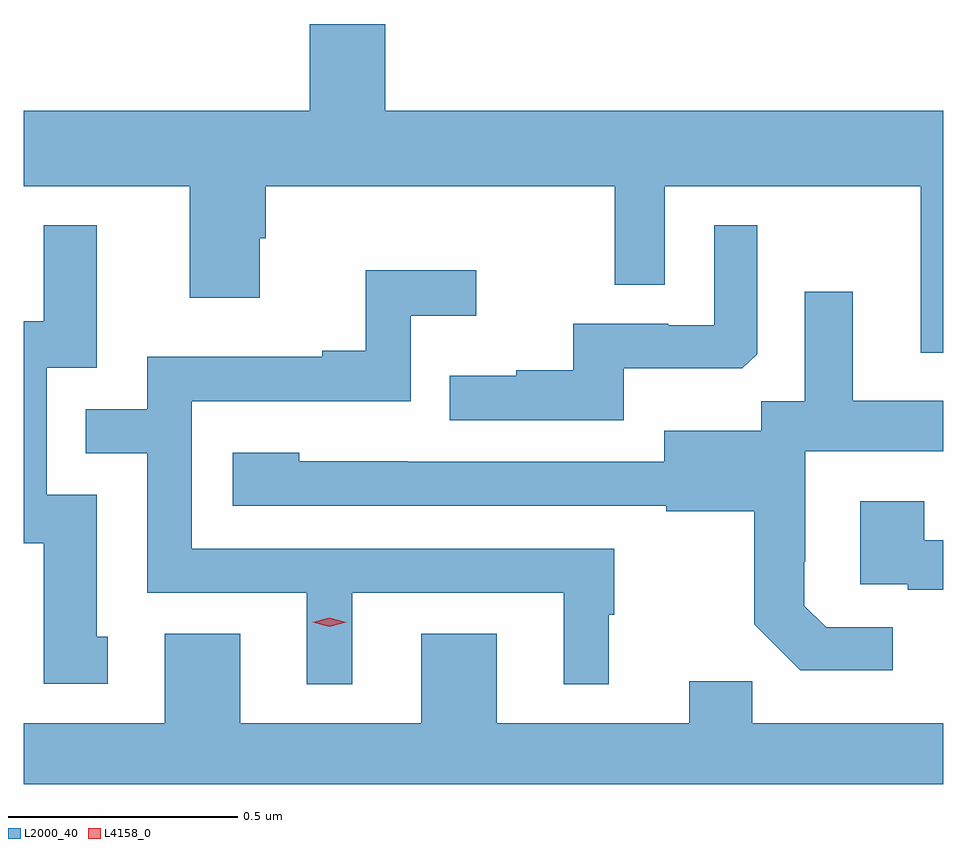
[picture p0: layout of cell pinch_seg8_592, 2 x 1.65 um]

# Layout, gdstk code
import gdstk
lib = gdstk.Library(unit=1e-6, precision=1e-09)
def P(c, l, *ps):  # polygons
    for p in ps: c.add(gdstk.Polygon(p, *l))
L2000_40 = (2000, 40)
L4158_0 = (4158, 0)

pinch_seg8_592 = lib.new_cell('pinch_seg8_592')
P(pinch_seg8_592, L2000_40, [(153.184,1083.553),(153.02,1083.553),(153.02,1083.364),(152.398,1083.364),(152.398,1083.2),(152.759,1083.2),(152.759,1082.958),(152.911,1082.958),(152.911,1083.087),(152.924,1083.087),(152.924,1083.2),(153.684,1083.2),(153.684,1082.986),(153.792,1082.986),(153.792,1083.2),(154.349,1083.2),(154.349,1082.838),(154.398,1082.838),(154.398,1083.364),(153.184,1083.364)],
  [(153.703,1082.804),(153.961,1082.804),(153.993,1082.835),(153.993,1083.115),(153.9,1083.115),(153.9,1082.898),(153.8,1082.898),(153.8,1082.901),(153.593,1082.901),(153.593,1082.8),(153.469,1082.8),(153.469,1082.788),(153.325,1082.788),(153.325,1082.691),(153.703,1082.691)],
  [(152.581,1082.22),(152.557,1082.22),(152.557,1082.529),(152.448,1082.529),(152.448,1082.805),(152.557,1082.805),(152.557,1083.115),(152.441,1083.115),(152.441,1082.906),(152.398,1082.906),(152.398,1082.424),(152.441,1082.424),(152.441,1082.118),(152.581,1082.118)],
  [(153.112,1082.316),(153.572,1082.316),(153.572,1082.117),(153.67,1082.117),(153.67,1082.268),(153.682,1082.268),(153.682,1082.412),(152.763,1082.412),(152.763,1082.733),(153.24,1082.733),(153.24,1082.918),(153.382,1082.918),(153.382,1083.017),(153.142,1083.017),(153.142,1082.842),(153.047,1082.842),(153.047,1082.829),(152.667,1082.829),(152.667,1082.715),(152.533,1082.715),(152.533,1082.619),(152.667,1082.619),(152.667,1082.316),(153.014,1082.316),(153.014,1082.117),(153.112,1082.117)],
  [(154.288,1082.241),(154.143,1082.241),(154.096,1082.288),(154.096,1082.383),(154.098,1082.383),(154.098,1082.624),(154.398,1082.624),(154.398,1082.734),(154.201,1082.734),(154.201,1082.971),(154.097,1082.971),(154.097,1082.732),(154.002,1082.732),(154.002,1082.668),(153.791,1082.668),(153.791,1082.601),(153.233,1082.601),(153.233,1082.602),(152.997,1082.602),(152.997,1082.62),(152.853,1082.62),(152.853,1082.505),(153.795,1082.505),(153.795,1082.493),(153.987,1082.493),(153.987,1082.247),(154.087,1082.147),(154.288,1082.147)],
  [(154.398,1082.43),(154.357,1082.43),(154.357,1082.515),(154.217,1082.515),(154.217,1082.334),(154.321,1082.334),(154.321,1082.322),(154.398,1082.322)],
  [(154.398,1082.032),(153.983,1082.032),(153.983,1082.123),(153.845,1082.123),(153.845,1082.032),(153.427,1082.032),(153.427,1082.227),(153.263,1082.227),(153.263,1082.032),(152.869,1082.032),(152.869,1082.227),(152.705,1082.227),(152.705,1082.032),(152.398,1082.032),(152.398,1081.9),(154.398,1081.9)])
P(pinch_seg8_592, L4158_0, [(153.063,1082.242),(153.027,1082.252),(153.027,1082.252),(153.027,1082.252),(153.063,1082.262),(153.099,1082.252),(153.099,1082.252),(153.099,1082.252)])

lib.write_gds('pinch_seg8_592.gds')
